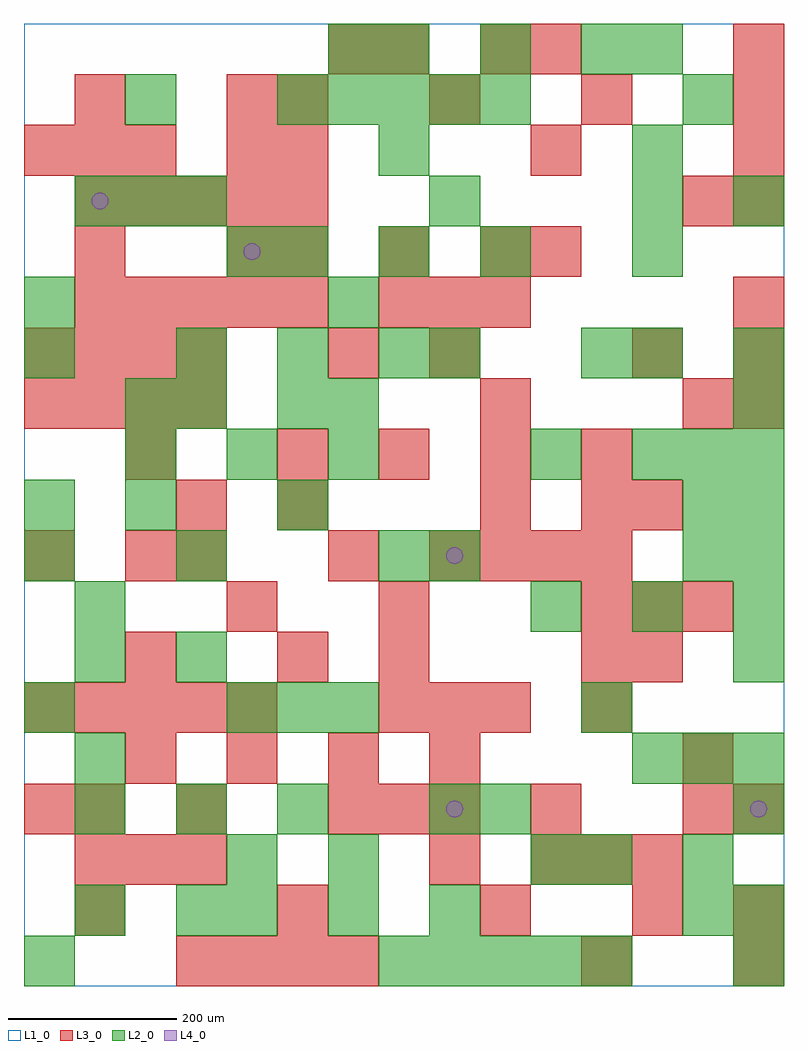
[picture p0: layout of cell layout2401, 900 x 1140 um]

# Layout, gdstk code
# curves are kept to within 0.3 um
import gdstk
lib = gdstk.Library(unit=1e-6, precision=1e-09)
def R(c, l, rs):  # rectangles x0, y0, x1, y1
    for r in rs: c.add(gdstk.rectangle(r[:2], r[2:], *l))
def A(c, l, x, y, w, h, nx, ny, dx, dy):  # array of equal rectangles
    R(c, l, [(x+i*dx, y+j*dy, x+i*dx+w, y+j*dy+h) for i in range(nx) for j in range(ny)])
def P(c, l, *ps):  # polygons
    for p in ps: c.add(gdstk.Polygon(p, *l))
L1_0 = (1, 0)
L2_0 = (2, 0)
L3_0 = (3, 0)
L4_0 = (4, 0)

layout2401 = lib.new_cell('layout2401')
R(layout2401, L1_0, [(0,0,900,1140)])
A(layout2401, L2_0, 420, 0, 60, 60, 5, 1, 60, 0)
A(layout2401, L2_0, 240, 60, 60, 60, 3, 1, 120, 0)
A(layout2401, L2_0, 60, 180, 60, 60, 3, 1, 120, 0)
A(layout2401, L2_0, 720, 240, 60, 60, 3, 2, 60, 360)
A(layout2401, L2_0, 240, 300, 60, 60, 3, 1, 60, 0)
A(layout2401, L2_0, 600, 420, 60, 60, 3, 1, 120, 0)
A(layout2401, L2_0, 120, 600, 60, 60, 3, 1, 120, 0)
A(layout2401, L2_0, 180, 720, 60, 60, 3, 1, 120, 0)
A(layout2401, L2_0, 300, 840, 60, 60, 3, 1, 120, 0)
A(layout2401, L2_0, 720, 840, 60, 60, 1, 3, 0, 60)
A(layout2401, L2_0, 60, 900, 60, 60, 3, 1, 60, 0)
A(layout2401, L2_0, 300, 1020, 60, 60, 5, 1, 60, 0)
A(layout2401, L2_0, 420, 1080, 60, 60, 3, 1, 120, 0)
R(layout2401, L2_0, [(0,0,60,60), (840,0,900,60), (60,60,120,120), (180,60,240,120), (780,60,840,120), (840,60,900,120), (240,120,300,180), (360,120,420,180), (600,120,660,180), (660,120,720,180), (780,120,840,180), (480,180,540,240), (540,180,600,240), (840,180,900,240), (60,240,120,300), (0,300,60,360), (660,300,720,360), (60,360,120,420), (180,360,240,420), (840,360,900,420), (60,420,120,480), (0,480,60,540), (180,480,240,540), (420,480,480,540), (480,480,540,540), (780,480,840,540), (840,480,900,540), (0,540,60,600), (120,540,180,600), (300,540,360,600), (780,540,840,600), (840,540,900,600), (600,600,660,660), (120,660,180,720), (180,660,240,720), (300,660,360,720), (360,660,420,720), (840,660,900,720), (0,720,60,780), (480,720,540,780), (660,720,720,780), (720,720,780,780), (840,720,900,780), (0,780,60,840), (360,780,420,840), (240,840,300,900), (480,900,540,960), (840,900,900,960), (420,960,480,1020), (120,1020,180,1080), (780,1020,840,1080), (360,1080,420,1140), (720,1080,780,1140)])
A(layout2401, L3_0, 180, 0, 60, 60, 4, 1, 60, 0)
A(layout2401, L3_0, 60, 60, 60, 60, 3, 1, 240, 0)
A(layout2401, L3_0, 60, 120, 60, 60, 3, 1, 60, 0)
A(layout2401, L3_0, 600, 120, 60, 60, 3, 1, 60, 0)
A(layout2401, L3_0, 360, 180, 60, 60, 3, 1, 60, 0)
A(layout2401, L3_0, 120, 240, 60, 60, 4, 1, 120, 0)
A(layout2401, L3_0, 0, 300, 60, 60, 5, 1, 60, 0)
A(layout2401, L3_0, 420, 300, 60, 60, 3, 2, 60, 480)
A(layout2401, L3_0, 120, 360, 60, 60, 1, 3, 0, 120)
A(layout2401, L3_0, 720, 360, 60, 60, 1, 3, 0, 180)
A(layout2401, L3_0, 660, 420, 60, 60, 3, 1, 60, 0)
A(layout2401, L3_0, 480, 480, 60, 60, 4, 1, 60, 0)
A(layout2401, L3_0, 300, 600, 60, 60, 4, 1, 120, 0)
A(layout2401, L3_0, 0, 660, 60, 60, 4, 2, 60, 60)
A(layout2401, L3_0, 840, 660, 60, 60, 1, 3, 0, 60)
A(layout2401, L3_0, 60, 780, 60, 60, 5, 2, 60, 120)
A(layout2401, L3_0, 300, 840, 60, 60, 3, 1, 120, 0)
A(layout2401, L3_0, 600, 840, 60, 60, 1, 3, 0, 120)
A(layout2401, L3_0, 0, 960, 60, 60, 3, 1, 60, 0)
A(layout2401, L3_0, 300, 1020, 60, 60, 4, 1, 180, 0)
R(layout2401, L3_0, [(660,0,720,60), (840,0,900,60), (720,60,780,120), (840,60,900,120), (480,120,540,180), (0,180,60,240), (60,180,120,240), (180,180,240,240), (600,180,660,240), (780,180,840,240), (840,180,900,240), (780,240,840,300), (660,300,720,360), (300,360,360,420), (420,360,480,420), (660,360,720,420), (240,420,300,480), (420,420,480,480), (0,480,60,540), (180,480,240,540), (360,480,420,540), (180,540,240,600), (300,540,360,600), (540,540,600,600), (660,540,720,600), (540,660,600,720), (780,660,840,720), (360,720,420,780), (480,720,540,780), (60,840,120,900), (240,840,300,900), (780,900,840,960), (840,900,900,960), (240,960,300,1020), (300,960,360,1020), (840,960,900,1020), (60,1020,120,1080), (240,1020,300,1080), (360,1080,420,1140), (420,1080,480,1140), (540,1080,600,1140), (840,1080,900,1140)])
P(layout2401, L4_0, [(100,930),(99.239,933.827),(97.071,937.071),(93.827,939.239),(90,940),(86.173,939.239),(82.929,937.071),(80.761,933.827),(80,930),(80.761,926.173),(82.929,922.929),(86.173,920.761),(90,920),(93.827,920.761),(97.071,922.929),(99.239,926.173)],
  [(280,870),(279.239,873.827),(277.071,877.071),(273.827,879.239),(270,880),(266.173,879.239),(262.929,877.071),(260.761,873.827),(260,870),(260.761,866.173),(262.929,862.929),(266.173,860.761),(270,860),(273.827,860.761),(277.071,862.929),(279.239,866.173)],
  [(520,210),(519.239,213.827),(517.071,217.071),(513.827,219.239),(510,220),(506.173,219.239),(502.929,217.071),(500.761,213.827),(500,210),(500.761,206.173),(502.929,202.929),(506.173,200.761),(510,200),(513.827,200.761),(517.071,202.929),(519.239,206.173)],
  [(520,510),(519.239,513.827),(517.071,517.071),(513.827,519.239),(510,520),(506.173,519.239),(502.929,517.071),(500.761,513.827),(500,510),(500.761,506.173),(502.929,502.929),(506.173,500.761),(510,500),(513.827,500.761),(517.071,502.929),(519.239,506.173)],
  [(880,210),(879.239,213.827),(877.071,217.071),(873.827,219.239),(870,220),(866.173,219.239),(862.929,217.071),(860.761,213.827),(860,210),(860.761,206.173),(862.929,202.929),(866.173,200.761),(870,200),(873.827,200.761),(877.071,202.929),(879.239,206.173)])

lib.write_gds('layout2401.gds')
